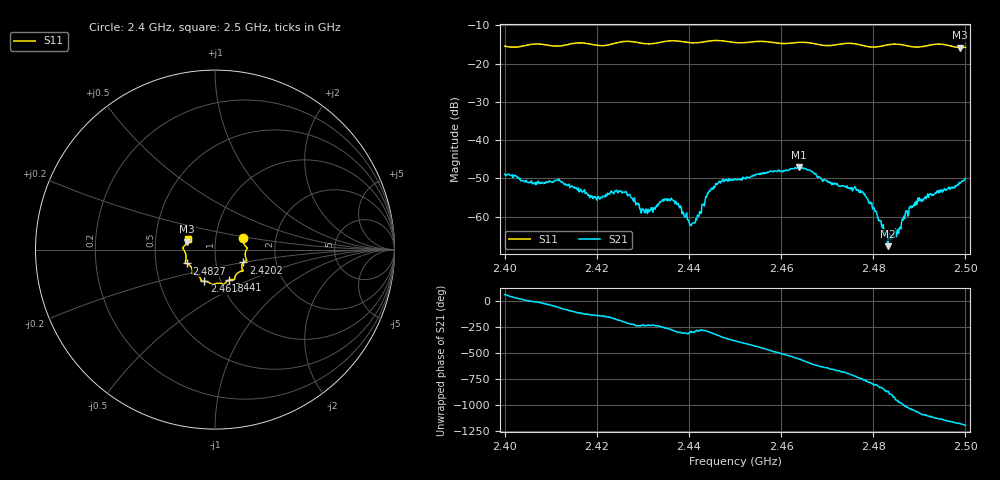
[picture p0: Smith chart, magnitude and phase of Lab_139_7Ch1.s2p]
# Hz S RI R 50
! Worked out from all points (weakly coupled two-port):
!   601 points, 2.4 GHz to 2.5 GHz, reference 50 ohm
!   highest |S21| = -47.07 dB at 2.4638 GHz (marker M1); lowest = -67.7 dB at 2.4832 GHz (marker M2)
!   lowest |S11| = -15.8 dB at 2.4988 GHz (marker M3), VSWR 1.39, Z = 36.4 + j3.33 ohm
!   |S11| at or under -10 dB: start of sweep to end of sweep
!   S12 and S22 are empty: the file has one direction only
!   S11 on the Smith chart (normalised r, x): 2.4 GHz: 1.36, +0.17; 2.4202 GHz: 1.36, -0.20; 2.441 GHz: 1.10, -0.39; 2.4618 GHz: 0.84, -0.30; 2.4827 GHz: 0.72, -0.12; 2.5 GHz: 0.73, +0.09
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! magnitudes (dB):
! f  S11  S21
! 2.4 GHz  -15.4  -48.9
! 2.4167 GHz  -14.5  -53.3
! 2.4202 GHz  -15.2  -54.9
! 2.4248 GHz  -14.4  -53.2
! 2.43 GHz  -14.7  -57.9
! 2.4333 GHz  -14.5  -56.7
! 2.4367 GHz  -14.0  -55.8
! 2.441 GHz  -14.6  -61.6
! 2.4445 GHz  -14.1  -53.1
! 2.45 GHz  -14.5  -50.3
! 2.4618 GHz  -14.6  -47.6
! 2.4638 GHz  -14.4  -47.1
! 2.4667 GHz  -14.6  -48.3
! 2.4777 GHz  -15.2  -53.4
! 2.4827 GHz  -15.2  -64.7
! 2.4832 GHz  -15.1  -67.7
! 2.4833 GHz  -15.0  -65.9
! 2.4855 GHz  -14.9  -64.4
! 2.4868 GHz  -15.2  -60.5
! 2.4895 GHz  -15.7  -56.7
! 2.4988 GHz  -15.8  -51.3
! 2.5 GHz  -15.7  -49.9
